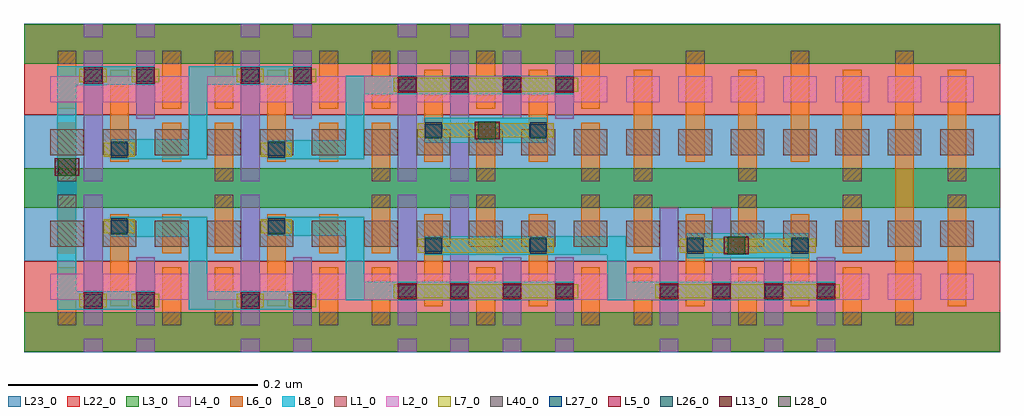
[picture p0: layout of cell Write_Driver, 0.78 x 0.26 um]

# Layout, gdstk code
from math import pi, radians
import gdstk
lib = gdstk.Library(unit=1e-6, precision=2.5e-10)
def R(c, l, rs):  # rectangles x0, y0, x1, y1
    for r in rs: c.add(gdstk.rectangle(r[:2], r[2:], *l))
def A(c, l, x, y, w, h, nx, ny, dx, dy):  # array of equal rectangles
    R(c, l, [(x+i*dx, y+j*dy, x+i*dx+w, y+j*dy+h) for i in range(nx) for j in range(ny)])
def P(c, l, *ps):  # polygons
    for p in ps: c.add(gdstk.Polygon(p, *l))
L1_0 = (1, 0)
L2_0 = (2, 0)
L3_0 = (3, 0)
L4_0 = (4, 0)
L5_0 = (5, 0)
L6_0 = (6, 0)
L7_0 = (7, 0)
L8_0 = (8, 0)
L13_0 = (13, 0)
L22_0 = (22, 0)
L23_0 = (23, 0)
L26_0 = (26, 0)
L27_0 = (27, 0)
L28_0 = (28, 0)
L40_0 = (40, 0)

invx4 = lib.new_cell('invx4')
A(invx4, L1_0, 0.027, 0.042, 0.027, 0.021, 5, 1, 0.042, 0)
A(invx4, L2_0, 0.027, 0.0845, 0.027, 0.021, 5, 1, 0.042, 0)
R(invx4, L3_0, [(0.006,0,0.243,0.0315), (0.006,0.1155,0.243,0.147)])
A(invx4, L4_0, 0.054, 0.1365, 0.015, 0.0105, 4, 1, 0.042, 0)
R(invx4, L4_0, [(0.054,0.0315,0.069,0.126), (0.096,0.0315,0.111,0.126), (0.138,0.0715,0.153,0.126), (0.18,0.0715,0.195,0.126)])
A(invx4, L5_0, 0.054, 0.092, 0.015, 0.013, 4, 1, 0.042, 0)
A(invx4, L6_0, 0.033, 0.021, 0.015, 0.047, 3, 1, 0.084, 0)
A(invx4, L6_0, 0.033, 0.0795, 0.015, 0.0465, 3, 1, 0.084, 0)
R(invx4, L6_0, [(0.075,0.037,0.09,0.1105), (0.159,0.037,0.174,0.1105)])
R(invx4, L7_0, [(0.07,0.0565,0.179,0.0675), (0.0505,0.093,0.1985,0.104)])
R(invx4, L8_0, [(0.0755,0.0545,0.1735,0.0695), (0.0545,0.091,0.1945,0.106)])
R(invx4, L22_0, [(0.006,0.0745,0.243,0.147)])
R(invx4, L23_0, [(0.006,0,0.243,0.0745), (0.006,0.147,0.243,0.1475)])
R(invx4, L26_0, [(0.076,0.0555,0.089,0.0685), (0.16,0.0555,0.173,0.0685)])
A(invx4, L27_0, 0.0545, 0.0935, 0.014, 0.01, 4, 1, 0.042, 0)
R(invx4, L27_0, [(0.0755,0.057,0.0895,0.067), (0.1595,0.057,0.1735,0.067)])
A(invx4, L40_0, 0.033, 0.021, 0.015, 0.0105, 3, 2, 0.084, 0.0945)

buffer_highdrive = lib.new_cell('buffer_highdrive')
A(buffer_highdrive, L2_0, 0.0215, 0.084, 0.027, 0.021, 10, 1, 0.042, 0)
R(buffer_highdrive, L3_0, [(0.2825,0.012,0.293,0.018), (0.159,0.138,0.1675,0.143)])
R(buffer_highdrive, L4_0, [(0.0485,-0.0005,0.0635,0.01), (0.0905,-0.0005,0.1055,0.01), (0.0485,0.0205,0.0635,0.1255), (0.0905,0.0205,0.1055,0.1255), (0.2585,0.031,0.2735,0.1255), (0.3005,0.031,0.3155,0.1255), (0.1325,0.071,0.1475,0.1255), (0.1745,0.071,0.1895,0.1255), (0.3425,0.071,0.3575,0.1255), (0.3845,0.071,0.3995,0.1255)])
R(buffer_highdrive, L8_0, [(0.3675,0.0575,0.3745,0.064), (0.2835,0.096,0.29,0.101)])
P(buffer_highdrive, L8_0, [(0.259,0.1055),(0.259,0.0905),(0.2315,0.0905),(0.2315,0.054),(0.168,0.054),(0.168,0.069),(0.2165,0.069),(0.2165,0.1055)])
buffer_highdrive.add(gdstk.Reference(invx4, (-0.0055,-0.0005)))
buffer_highdrive.add(gdstk.Reference(invx4, (0.2045,-0.0005)))

inv = lib.new_cell('inv')
A(inv, L1_0, 0.021, 0.042, 0.027, 0.021, 3, 1, 0.042, 0)
A(inv, L2_0, 0.021, 0.0845, 0.027, 0.021, 3, 1, 0.042, 0)
R(inv, L3_0, [(0,0,0.153,0.0315), (0,0.1155,0.153,0.147)])
R(inv, L4_0, [(0.048,0,0.063,0.0105), (0.048,0.021,0.063,0.126), (0.09,0.0715,0.105,0.126), (0.048,0.1365,0.063,0.147), (0.09,0.1365,0.105,0.147)])
R(inv, L5_0, [(0.048,0.0995,0.063,0.1125), (0.09,0.0995,0.105,0.1125)])
R(inv, L6_0, [(0.027,0.021,0.042,0.068), (0.069,0.037,0.084,0.1105), (0.111,0.037,0.126,0.068), (0.027,0.0795,0.042,0.126), (0.111,0.0795,0.126,0.126)])
R(inv, L7_0, [(0.064,0.041,0.089,0.052), (0.0445,0.1005,0.0665,0.1115), (0.0865,0.1005,0.1085,0.1115)])
R(inv, L8_0, [(0.0695,0.039,0.0835,0.054), (0.0485,0.0985,0.1045,0.1135)])
R(inv, L22_0, [(0,0.0745,0.153,0.147)])
R(inv, L23_0, [(0,0,0.153,0.0745), (0,0.147,0.153,0.1475)])
R(inv, L26_0, [(0.07,0.04,0.083,0.053)])
R(inv, L27_0, [(0.0695,0.0415,0.0835,0.0515), (0.0485,0.101,0.0625,0.111), (0.0905,0.101,0.1045,0.111)])
R(inv, L40_0, [(0.027,0.021,0.042,0.0315), (0.027,0.1155,0.042,0.126), (0.111,0.1155,0.126,0.126)])

buffer = lib.new_cell('buffer')
R(buffer, L3_0, [(0.045,0.0065,0.0615,0.0165), (0.13,0.1315,0.145,0.143)])
R(buffer, L8_0, [(0.217,0.0435,0.2275,0.053)])
P(buffer, L8_0, [(0.1945,0.114),(0.1945,0.099),(0.167,0.099),(0.167,0.0395),(0.0895,0.0395),(0.0895,0.0555),(0.152,0.0555),(0.152,0.114)])
buffer.add(gdstk.Reference(inv, (0.146,0.0005)))
buffer.add(gdstk.Reference(inv, (0.02,0.0005)))

sram_filler = lib.new_cell('sram_filler')
R(sram_filler, L1_0, [(0.022,0.042,0.049,0.063), (0.064,0.042,0.091,0.063)])
R(sram_filler, L2_0, [(0.022,0.0845,0.049,0.1055), (0.064,0.0845,0.091,0.1055)])
R(sram_filler, L3_0, [(0.001,0,0.112,0.0315), (0.001,0.1155,0.112,0.147)])
R(sram_filler, L6_0, [(0.028,0.021,0.043,0.1105), (0.07,0.037,0.085,0.126)])
R(sram_filler, L22_0, [(0.001,0.0745,0.112,0.147)])
R(sram_filler, L23_0, [(0.001,0,0.112,0.0745), (0.001,0.147,0.112,0.1475)])
R(sram_filler, L40_0, [(0.028,0.021,0.043,0.0315), (0.07,0.1155,0.085,0.126)])

write_driver = lib.new_cell('Write_Driver')
A(write_driver, L1_0, 0.31, 0.2235, 0.027, 0.021, 3, 2, 0.042, 0.0735)
A(write_driver, L1_0, 0.52, 0.2235, 0.027, 0.021, 3, 1, 0.042, 0)
R(write_driver, L1_0, [(0.058,0.2235,0.085,0.2445), (0.1,0.2235,0.127,0.2445), (0.184,0.2235,0.211,0.2445), (0.226,0.2235,0.253,0.2445), (0.058,0.297,0.085,0.318), (0.1,0.297,0.127,0.318), (0.184,0.297,0.211,0.318), (0.226,0.297,0.253,0.318)])
A(write_driver, L2_0, 0.31, 0.3395, 0.027, 0.021, 5, 1, 0.042, 0)
R(write_driver, L3_0, [(0.6995,0.271,0.7145,0.2845), (0.442,0.385,0.4555,0.399)])
A(write_driver, L4_0, 0.085, 0.1605, 0.015, 0.105, 3, 2, 0.126, 0.1155)
R(write_driver, L4_0, [(0.379,0.1605,0.394,0.2655), (0.547,0.1605,0.562,0.255), (0.589,0.1605,0.604,0.255), (0.379,0.276,0.394,0.381), (0.421,0.3265,0.436,0.381), (0.463,0.3265,0.478,0.381)])
R(write_driver, L6_0, [(0.736,0.243,0.751,0.307)])
R(write_driver, L8_0, [(0.5685,0.2145,0.6665,0.2345), (0.3585,0.307,0.4565,0.327)])
P(write_driver, L8_0, [(0.3495,0.361),(0.3495,0.346),(0.31,0.346),(0.31,0.294),(0.2325,0.294),(0.2325,0.309),(0.295,0.309),(0.295,0.361)],
  [(0.31,0.2475),(0.31,0.1955),(0.342,0.1955),(0.342,0.1805),(0.295,0.1805),(0.295,0.2325),(0.2325,0.2325),(0.2325,0.2475)],
  [(0.103,0.3685),(0.103,0.353),(0.079,0.353),(0.079,0.188),(0.1015,0.188),(0.1015,0.173),(0.0635,0.173),(0.0635,0.3685)])
R(write_driver, L13_0, [(0.5985,0.2175,0.6185,0.2315), (0.0615,0.2805,0.0815,0.2945), (0.3985,0.31,0.4185,0.324)])
R(write_driver, L28_0, [(0.6015,0.2175,0.6155,0.2315), (0.0645,0.2805,0.0785,0.2945), (0.4015,0.31,0.4155,0.324)])
write_driver.add(gdstk.Reference(buffer_highdrive, (0.2885,0.286), x_reflection=True))
write_driver.add(gdstk.Reference(buffer, (0.017,0.287), x_reflection=True))
write_driver.add(gdstk.Reference(buffer, (0.017,0.2545)))
write_driver.add(gdstk.Reference(sram_filler, (0.821,0.2865), rotation=pi))
write_driver.add(gdstk.Reference(sram_filler, (0.821,0.255), rotation=pi, x_reflection=True))
write_driver.add(gdstk.Reference(sram_filler, (0.737,0.255), rotation=pi, x_reflection=True))
write_driver.add(gdstk.Reference(sram_filler, (0.582,0.255)))
write_driver.add(gdstk.Reference(sram_filler, (0.498,0.255)))
write_driver.add(gdstk.Reference(invx4, (0.283,0.255)))

lib.write_gds('Write_Driver.gds')
